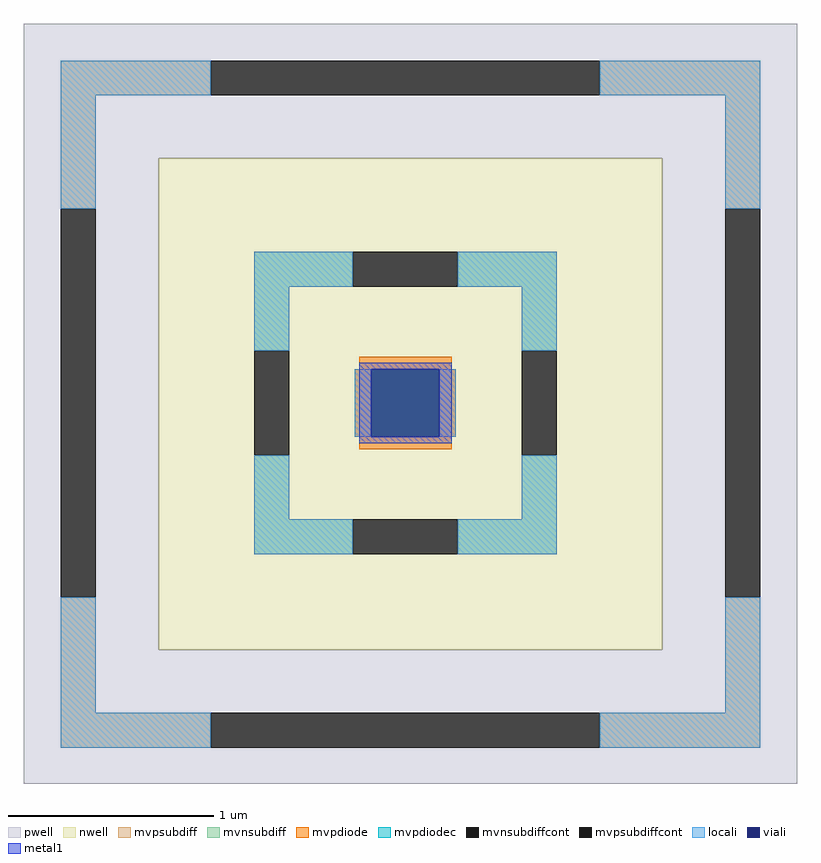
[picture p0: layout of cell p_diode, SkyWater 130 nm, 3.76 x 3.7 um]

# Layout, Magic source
magic
tech sky130A
magscale 1 2
<< nwell >>
rect -240 -240 250 238
<< pwell >>
rect -371 238 381 369
rect -371 -240 -240 238
rect 250 -240 381 238
rect -371 -370 381 -240
<< mvpsubdiff >>
rect -335 299 -189 333
rect 189 299 345 333
rect -335 189 -301 299
rect 311 189 345 299
rect -335 -301 -301 -189
rect 311 -301 345 -189
rect -335 -335 -189 -301
rect 189 -335 345 -301
<< mvnsubdiff >>
rect -147 113 -51 147
rect 51 113 147 147
rect -147 51 -113 113
rect 113 51 147 113
rect -147 -113 -113 -51
rect 113 -113 147 -51
rect -147 -147 -51 -113
rect 51 -147 147 -113
<< mvpsubdiffcont >>
rect -189 299 189 333
rect -335 -189 -301 189
rect 311 -189 345 189
rect -189 -335 189 -301
<< mvnsubdiffcont >>
rect -51 113 51 147
rect -147 -51 -113 51
rect 113 -51 147 51
rect -51 -147 51 -113
<< mvpdiode >>
rect -45 33 45 45
rect -49 -33 -33 33
rect 33 -33 49 33
rect -45 -45 45 -33
<< mvpdiodec >>
rect -33 -33 33 33
<< locali >>
rect -335 299 -189 333
rect 189 299 345 333
rect -335 189 -301 299
rect 311 189 345 299
rect -147 113 -51 147
rect 51 113 147 147
rect -147 51 -113 113
rect 113 51 147 113
rect -49 -33 -33 33
rect 33 -33 49 33
rect -147 -113 -113 -51
rect 113 -113 147 -51
rect -147 -147 -51 -113
rect 51 -147 147 -113
rect -335 -301 -301 -189
rect 311 -301 345 -189
rect -335 -335 -189 -301
rect 189 -335 345 -301
<< viali >>
rect -33 -33 33 33
<< metal1 >>
rect -45 33 45 39
rect -45 -33 -33 33
rect 33 -33 45 33
rect -45 -39 45 -33
<< properties >>
string FIXED_BBOX -130 -130 130 130
string gencell sky130_fd_pr__diode_pd2nw_05v5
string library sky130
string parameters w 0.45 l 0.45 area 202.5m peri 1.8 nx 1 ny 1 dummy 0 lmin 0.45 wmin 0.45 elc 1 erc 1 etc 1 ebc 1 glc 1 grc 1 gtc 1 gbc 1 doverlap 0 compatible {sky130_fd_pr__diode_pd2nw_05v5 sky130_fd_pr__diode_pd2nw_05v5_lvt  sky130_fd_pr__diode_pd2nw_05v5_hvt sky130_fd_pr__diode_pd2nw_11v0} full_metal 1 vias 1 viagb 0 viagt 0 viagl 0 viagr 0
<< end >>
